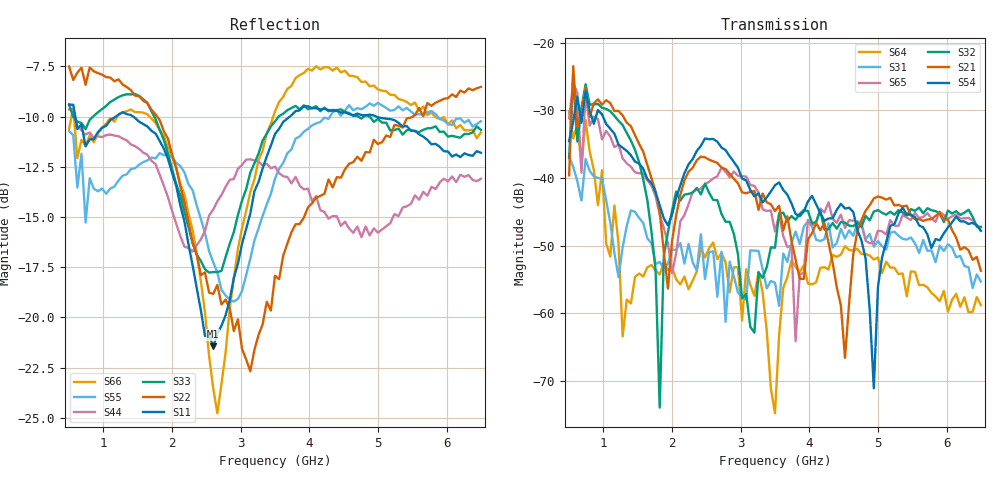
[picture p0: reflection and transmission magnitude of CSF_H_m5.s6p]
!Keysight Technologies,M9804A,MY58100912,A.14.10.03
!Date: Thursday, April 27, 2023 10:28:33
!Correction: S11(C  6-Port  )
!S12(C  6-Port  )
!S13(C  6-Port  )
!S14(C  6-Port  )
!S15(C  6-Port  )
!S16(C  6-Port  )
!S21(C  6-Port  )
!S22(C  6-Port  )
!S23(C  6-Port  )
!S24(C  6-Port  )
!S25(C  6-Port  )
!S26(C  6-Port  )
!S31(C  6-Port  )
!S32(C  6-Port  )
!S33(C  6-Port  )
!S34(C  6-Port  )
!S35(C  6-Port  )
!S36(C  6-Port  )
!S41(C  6-Port  )
!S42(C  6-Port  )
!S43(C  6-Port  )
!S44(C  6-Port  )
!S45(C  6-Port  )
!S46(C  6-Port  )
!S51(C  6-Port  )
!S52(C  6-Port  )
!S53(C  6-Port  )
!S54(C  6-Port  )
!S55(C  6-Port  )
!S56(C  6-Port  )
!S61(C  6-Port  )
!S62(C  6-Port  )
!S63(C  6-Port  )
!S64(C  6-Port  )
!S65(C  6-Port  )
!S66(C  6-Port  )
!S6P File: Measurement: :
# Hz S  RI  R 50
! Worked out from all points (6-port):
!   101 points, 500 MHz to 6.5 GHz, reference 50 ohm
!   strongest paths, dB at 500 MHz, 2 GHz, 3.5 GHz, 5 GHz, 6.5 GHz:
!     S54: -34.5, -45.4, -41.1, -56.2, -47.8
!     S21: -39.6, -49.3, -44.9, -42.7, -53.7
!     S32: -37.1, -44.8, -50.3, -44.8, -47.2
!     S65: -31.2, -54.1, -47.9, -47.8, -47.8
!     S31: -36.9, -50.6, -55.5, -49.3, -55.3
!     S64: -30.1, -53.2, -74.8, -51.8, -58.8
!   lowest |S11| = -21.4 dB at 2.6 GHz (marker M1), VSWR 1.18, Z = 42.5 + j2.16 ohm
!   |S11| at or under -10 dB: 589.3 MHz to 1.177 GHz (587.3 MHz wide, 66.5 % of centre); 1.434 GHz to 3.714 GHz (2.279 GHz wide, 88.5 % of centre); 4.979 GHz to end of sweep
